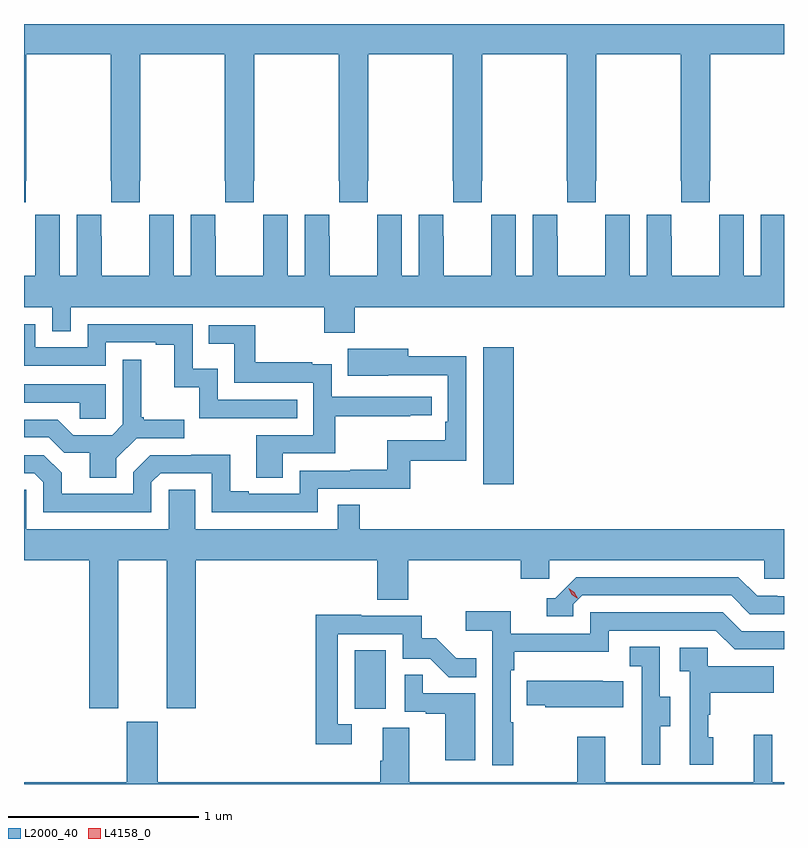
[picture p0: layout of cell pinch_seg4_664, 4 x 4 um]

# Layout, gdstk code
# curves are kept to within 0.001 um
import gdstk
lib = gdstk.Library(unit=1e-6, precision=1e-09)
def R(c, l, rs):  # rectangles x0, y0, x1, y1
    for r in rs: c.add(gdstk.rectangle(r[:2], r[2:], *l))
def P(c, l, *ps):  # polygons
    for p in ps: c.add(gdstk.Polygon(p, *l))
L2000_40 = (2000, 40)
L4158_0 = (4158, 0)

pinch_seg4_664 = lib.new_cell('pinch_seg4_664')
R(pinch_seg4_664, L2000_40, [(1115.924,758.742,1116.088,759.049), (1116.599,759.924,1116.76,760.645)])
P(pinch_seg4_664, L2000_40, [(1114.639,761.521),(1114.641,761.521),(1114.641,761.409),(1114.791,761.409),(1114.791,761.521),(1114.794,761.521),(1114.794,762.188),(1115.239,762.188),(1115.239,761.521),(1115.241,761.521),(1115.241,761.409),(1115.391,761.409),(1115.391,761.521),(1115.394,761.521),(1115.394,762.188),(1115.839,762.188),(1115.839,761.521),(1115.841,761.521),(1115.841,761.409),(1115.991,761.409),(1115.991,761.521),(1115.994,761.521),(1115.994,762.188),(1116.439,762.188),(1116.439,761.521),(1116.441,761.521),(1116.441,761.409),(1116.591,761.409),(1116.591,761.521),(1116.594,761.521),(1116.594,762.188),(1117.039,762.188),(1117.039,761.521),(1117.041,761.521),(1117.041,761.409),(1117.191,761.409),(1117.191,761.521),(1117.194,761.521),(1117.194,762.188),(1117.639,762.188),(1117.639,761.521),(1117.641,761.521),(1117.641,761.409),(1117.791,761.409),(1117.791,761.521),(1117.794,761.521),(1117.794,762.188),(1118.183,762.188),(1118.183,762.346),(1114.183,762.346),(1114.183,761.409),(1114.191,761.409),(1114.191,761.521),(1114.194,761.521),(1114.194,762.188),(1114.639,762.188)],
  [(1115.791,761.228),(1115.79,761.228),(1115.79,761.341),(1115.66,761.341),(1115.66,761.02),(1115.572,761.02),(1115.572,761.341),(1115.442,761.341),(1115.442,761.228),(1115.441,761.228),(1115.441,761.02),(1115.191,761.02),(1115.191,761.228),(1115.19,761.228),(1115.19,761.341),(1115.06,761.341),(1115.06,761.02),(1114.972,761.02),(1114.972,761.341),(1114.842,761.341),(1114.842,761.228),(1114.841,761.228),(1114.841,761.02),(1114.591,761.02),(1114.591,761.228),(1114.59,761.228),(1114.59,761.341),(1114.46,761.341),(1114.46,761.02),(1114.372,761.02),(1114.372,761.341),(1114.242,761.341),(1114.242,761.228),(1114.241,761.228),(1114.241,761.02),(1114.183,761.02),(1114.183,760.856),(1114.332,760.856),(1114.332,760.729),(1114.428,760.729),(1114.428,760.856),(1115.764,760.856),(1115.764,760.721),(1115.924,760.721),(1115.924,760.856),(1118.183,760.856),(1118.183,761.341),(1118.06,761.341),(1118.06,761.02),(1117.972,761.02),(1117.972,761.341),(1117.842,761.341),(1117.842,761.228),(1117.841,761.228),(1117.841,761.02),(1117.591,761.02),(1117.591,761.228),(1117.59,761.228),(1117.59,761.341),(1117.46,761.341),(1117.46,761.02),(1117.372,761.02),(1117.372,761.341),(1117.242,761.341),(1117.242,761.228),(1117.241,761.228),(1117.241,761.02),(1116.991,761.02),(1116.991,761.228),(1116.99,761.228),(1116.99,761.341),(1116.86,761.341),(1116.86,761.02),(1116.772,761.02),(1116.772,761.341),(1116.642,761.341),(1116.642,761.228),(1116.641,761.228),(1116.641,761.02),(1116.391,761.02),(1116.391,761.228),(1116.39,761.228),(1116.39,761.341),(1116.26,761.341),(1116.26,761.02),(1116.172,761.02),(1116.172,761.341),(1116.042,761.341),(1116.042,761.228),(1116.041,761.228),(1116.041,761.02),(1115.791,761.02)],
  [(1115.621,760.368),(1115.202,760.368),(1115.202,760.531),(1115.07,760.531),(1115.07,760.767),(1114.518,760.767),(1114.518,760.644),(1114.242,760.644),(1114.242,760.767),(1114.183,760.767),(1114.183,760.548),(1114.614,760.548),(1114.614,760.671),(1114.877,760.671),(1114.877,760.659),(1114.973,760.659),(1114.973,760.433),(1115.106,760.433),(1115.106,760.272),(1115.621,760.272)],
  [(1115.545,760.086),(1115.822,760.086),(1115.822,760.282),(1116.215,760.282),(1116.215,760.287),(1116.328,760.287),(1116.328,760.383),(1115.802,760.383),(1115.802,760.555),(1115.699,760.555),(1115.699,760.567),(1115.401,760.567),(1115.401,760.761),(1115.155,760.761),(1115.155,760.664),(1115.29,760.664),(1115.29,760.458),(1115.706,760.458),(1115.706,760.182),(1115.405,760.182),(1115.405,759.958),(1115.545,759.958)],
  [(1114.854,759.933),(1114.902,759.981),(1115.172,759.981),(1115.172,759.777),(1115.73,759.777),(1115.73,759.9),(1116.217,759.9),(1116.217,760.047),(1116.51,760.047),(1116.51,760.598),(1116.205,760.598),(1116.205,760.636),(1115.887,760.636),(1115.887,760.496),(1116.414,760.497),(1116.414,760.252),(1116.401,760.252),(1116.401,760.156),(1116.096,760.156),(1116.096,760.001),(1115.899,760.001),(1115.899,759.996),(1115.634,759.996),(1115.634,759.873),(1115.365,759.873),(1115.365,759.886),(1115.269,759.886),(1115.269,760.079),(1115.064,760.079),(1115.064,760.077),(1114.848,760.077),(1114.758,759.987),(1114.758,759.873),(1114.381,759.873),(1114.381,759.983),(1114.287,760.077),(1114.183,760.077),(1114.183,759.981),(1114.236,759.981),(1114.284,759.933),(1114.284,759.777),(1114.854,759.777)],
  [(1114.669,760.06),(1114.776,760.167),(1115.026,760.167),(1115.026,760.264),(1114.813,760.264),(1114.813,760.276),(1114.801,760.276),(1114.801,760.579),(1114.704,760.579),(1114.704,760.239),(1114.647,760.182),(1114.441,760.182),(1114.36,760.263),(1114.183,760.263),(1114.183,760.17),(1114.314,760.17),(1114.394,760.09),(1114.529,760.09),(1114.529,759.958),(1114.669,759.958)],
  [(1114.614,760.449),(1114.183,760.449),(1114.183,760.353),(1114.477,760.353),(1114.477,760.269),(1114.614,760.269)],
  [(1115.083,759.896),(1114.944,759.896),(1114.944,759.688),(1114.194,759.688),(1114.194,759.896),(1114.183,759.896),(1114.183,759.524),(1114.526,759.524),(1114.526,758.745),(1114.678,758.745),(1114.678,759.524),(1114.934,759.524),(1114.934,758.745),(1115.087,758.745),(1115.087,759.524),(1116.041,759.524),(1116.041,759.316),(1116.206,759.316),(1116.206,759.524),(1116.797,759.524),(1116.797,759.426),(1116.948,759.426),(1116.948,759.524),(1118.079,759.524),(1118.079,759.426),(1118.183,759.426),(1118.183,759.688),(1115.951,759.688),(1115.951,759.815),(1115.835,759.815),(1115.835,759.688),(1115.083,759.688)],
  [(1117.074,759.291),(1117.122,759.339),(1117.905,759.339),(1118.004,759.24),(1118.183,759.24),(1118.183,759.333),(1118.148,759.333),(1118.148,759.336),(1118.041,759.336),(1117.942,759.435),(1117.089,759.435),(1116.978,759.324),(1116.935,759.324),(1116.935,759.228),(1117.074,759.228)],
  [(1116.757,758.672),(1116.744,758.672),(1116.744,758.945),(1116.764,758.945),(1116.764,759.041),(1117.26,759.041),(1117.26,759.153),(1117.824,759.153),(1117.923,759.054),(1118.183,759.054),(1118.183,759.15),(1117.96,759.15),(1117.861,759.249),(1117.164,759.249),(1117.164,759.138),(1116.746,759.138),(1116.746,759.254),(1116.507,759.254),(1116.507,759.152),(1116.648,759.152),(1116.648,758.445),(1116.757,758.445)],
  [(1115.908,758.661),(1115.835,758.661),(1115.835,759.135),(1116.177,759.135),(1116.177,759.006),(1116.321,759.006),(1116.419,758.908),(1116.563,758.908),(1116.563,759.007),(1116.459,759.007),(1116.352,759.114),(1116.276,759.114),(1116.276,759.231),(1115.957,759.231),(1115.957,759.236),(1115.719,759.236),(1115.719,758.556),(1115.908,758.556)],
  [(1117.531,758.65),(1117.585,758.65),(1117.585,758.805),(1117.53,758.805),(1117.53,759.068),(1117.371,759.068),(1117.371,758.965),(1117.434,758.965),(1117.434,758.661),(1117.433,758.661),(1117.433,758.448),(1117.531,758.448)],
  [(1117.81,758.592),(1117.785,758.592),(1117.785,758.711),(1117.795,758.711),(1117.795,758.825),(1118.129,758.825),(1118.129,758.965),(1117.782,758.965),(1117.782,759.063),(1117.635,759.063),(1117.635,758.939),(1117.686,758.939),(1117.686,758.448),(1117.81,758.448)],
  [(1116.559,758.823),(1116.281,758.823),(1116.281,758.921),(1116.186,758.921),(1116.186,758.727),(1116.297,758.727),(1116.297,758.715),(1116.401,758.715),(1116.401,758.472),(1116.559,758.472)],
  [(1117.337,758.887),(1117.229,758.887),(1117.229,758.89),(1116.829,758.89),(1116.829,758.761),(1116.927,758.761),(1116.927,758.75),(1117.337,758.75)],
  [(1118.183,758.356),(1118.121,758.356),(1118.121,758.605),(1118.024,758.605),(1118.024,758.356),(1117.243,758.356),(1117.243,758.596),(1117.096,758.596),(1117.096,758.356),(1116.211,758.356),(1116.211,758.642),(1116.071,758.642),(1116.071,758.468),(1116.059,758.468),(1116.059,758.356),(1114.888,758.356),(1114.888,758.673),(1114.724,758.673),(1114.724,758.356),(1114.183,758.356),(1114.183,758.346),(1118.183,758.346)])
P(pinch_seg4_664, L4158_0, [(1117.096,759.324),(1117.066,759.343),(1117.049,759.375),(1117.049,759.376),(1117.05,759.376),(1117.08,759.356),(1117.097,759.324),(1117.097,759.324)])

lib.write_gds('pinch_seg4_664.gds')
